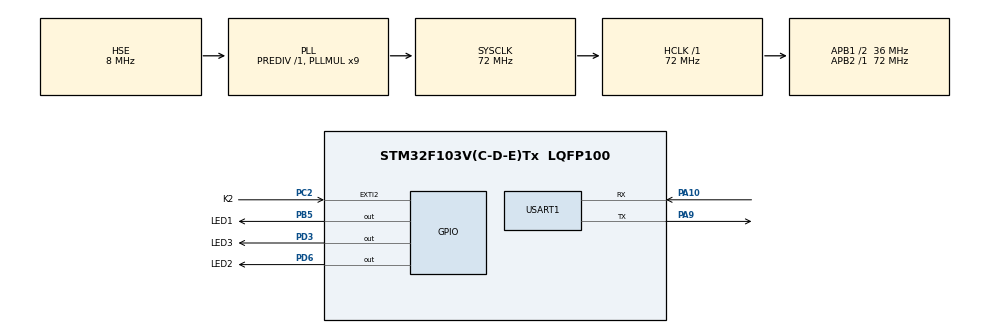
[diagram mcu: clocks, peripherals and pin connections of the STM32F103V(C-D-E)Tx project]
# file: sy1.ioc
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Mcu.Family=STM32F1
Mcu.Name=STM32F103V(C-D-E)Tx
Mcu.Package=LQFP100
NVIC.EXTI2_IRQn=true\:0\:0\:false\:false\:true\:true\:true\:true
NVIC.PriorityGroup=NVIC_PRIORITYGROUP_4
NVIC.USART1_IRQn=true\:0\:0\:false\:false\:true\:true\:true\:true
OSC_IN.Mode=HSE-External-Oscillator
OSC_IN.Signal=RCC_OSC_IN
OSC_OUT.Mode=HSE-External-Oscillator
OSC_OUT.Signal=RCC_OSC_OUT
PA10.Mode=Asynchronous
PA10.Signal=USART1_RX
PA13.Mode=Serial_Wire
PA13.Signal=SYS_JTMS-SWDIO
PA14.Mode=Serial_Wire
PA14.Signal=SYS_JTCK-SWCLK
PA9.Mode=Asynchronous
PA9.Signal=USART1_TX
PB5.GPIO_Label=LED1
PB5.GPIO_Speed=GPIO_SPEED_FREQ_HIGH
PB5.Signal=GPIO_Output
PC2.GPIO_Label=K2
PC2.GPIO_ModeDefaultEXTI=GPIO_MODE_IT_FALLING
PC2.Signal=GPXTI2
PD3.GPIO_Label=LED3
PD3.GPIO_Speed=GPIO_SPEED_FREQ_HIGH
PD3.Signal=GPIO_Output
PD6.GPIO_Label=LED2
PD6.GPIO_Speed=GPIO_SPEED_FREQ_HIGH
PD6.Signal=GPIO_Output
ProjectManager.HeapSize=0x200
ProjectManager.StackSize=0x400
ProjectManager.TargetToolchain=CMake
RCC.AHBFreq_Value=72000000
RCC.APB1CLKDivider=RCC_HCLK_DIV2
RCC.APB1Freq_Value=36000000
RCC.APB1TimFreq_Value=72000000
RCC.APB2Freq_Value=72000000
RCC.APB2TimFreq_Value=72000000
RCC.HCLKFreq_Value=72000000
RCC.PLLMUL=RCC_PLL_MUL9
RCC.PLLSourceVirtual=RCC_PLLSOURCE_HSE
RCC.SYSCLKFreq_VALUE=72000000
RCC.SYSCLKSource=RCC_SYSCLKSOURCE_PLLCLK
RCC.USBFreq_Value=72000000
USART1.VirtualMode=VM_ASYNC
board=custom

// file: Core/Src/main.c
/* USER CODE BEGIN Header */
/**
  ******************************************************************************
  * @file           : main.c
  * @brief          : Main program body
  ******************************************************************************
  * @attention
  *
  * Copyright (c) 2026 STMicroelectronics.
  * All rights reserved.
  *
  * This software is licensed under terms that can be found in the LICENSE file
  * in the root directory of this software component.
  * If no LICENSE file comes with this software, it is provided AS-IS.
  *
  ******************************************************************************
  */
/* USER CODE END Header */
#include "main.h"
#include "usart.h"
#include "gpio.h"

/* USER CODE BEGIN Includes */
#include <string.h>
#include <stdio.h>
#include <stdlib.h>
/* USER CODE END Includes */

/* USER CODE BEGIN PD */
/* LED状态表：每个元素包含三个LED的GPIO状态 */
typedef struct {
    GPIO_PinState led1;
    GPIO_PinState led2;
    GPIO_PinState led3;
} LED_State;

/* 流水灯状态序列：LED1 -> LED2 -> LED3 -> 全灭 -> 循环 */
const LED_State led_sequence[] = {
    {GPIO_PIN_SET,   GPIO_PIN_RESET, GPIO_PIN_RESET},  /* LED1亮 */
    {GPIO_PIN_RESET, GPIO_PIN_SET,   GPIO_PIN_RESET},  /* LED2亮 */
    {GPIO_PIN_RESET, GPIO_PIN_RESET, GPIO_PIN_SET},    /* LED3亮 */
};

#define LED_SEQUENCE_SIZE (sizeof(led_sequence) / sizeof(led_sequence[0]))

/* USER CODE END PD */

void SystemClock_Config(void);

/* USER CODE BEGIN 0 */
/* 流水灯控制变量 */
uint8_t current_step = 0;  /* 当前步骤索引 */
int8_t run = 0;            /* 运行状态 */
uint32_t delay_ms = 500;   /* 延时时间，单位毫秒 */

/* 串口接收相关 */
uint8_t rx_byte;           /* 单字节接收缓冲区 */
char rx_buf[8];            /* 数字缓冲区 */
uint8_t rx_index = 0;      /* 缓冲区索引 */
uint8_t rx_state = 0;      /* 接收状态：0=等待'S', 1=接收数字 */

/* USER CODE END 0 */

int main(void)
{

  /* MCU Configuration--------------------------------------------------------*/

  /* Reset of all peripherals, Initializes the Flash interface and the Systick. */
  HAL_Init();

  /* Configure the system clock */
  SystemClock_Config();

  /* Initialize all configured peripherals */
  MX_GPIO_Init();
  MX_USART1_UART_Init();
  /* USER CODE BEGIN 2 */
  HAL_UART_Receive_IT(&huart1, &rx_byte, 1);
  /* USER CODE END 2 */

  /* Infinite loop */
  while (1)
  {
    switch (run)
    {
      case 0:
        /* 仅 LED1 亮 */
        HAL_GPIO_WritePin(LED1_GPIO_Port, LED1_Pin, GPIO_PIN_SET);
        HAL_GPIO_WritePin(LED2_GPIO_Port, LED2_Pin, GPIO_PIN_RESET);
        HAL_GPIO_WritePin(LED3_GPIO_Port, LED3_Pin, GPIO_PIN_RESET);
        break;

      case 1:
        /* 仅 LED2 亮 */
        HAL_GPIO_WritePin(LED1_GPIO_Port, LED1_Pin, GPIO_PIN_RESET);
        HAL_GPIO_WritePin(LED2_GPIO_Port, LED2_Pin, GPIO_PIN_SET);
        HAL_GPIO_WritePin(LED3_GPIO_Port, LED3_Pin, GPIO_PIN_RESET);
        break;

      case 2:
        /* 仅 LED3 亮 */
        HAL_GPIO_WritePin(LED1_GPIO_Port, LED1_Pin, GPIO_PIN_RESET);
        HAL_GPIO_WritePin(LED2_GPIO_Port, LED2_Pin, GPIO_PIN_RESET);
        HAL_GPIO_WritePin(LED3_GPIO_Port, LED3_Pin, GPIO_PIN_SET);
        break;

      default:
        HAL_GPIO_WritePin(LED1_GPIO_Port, LED1_Pin, GPIO_PIN_RESET);
        HAL_GPIO_WritePin(LED2_GPIO_Port, LED2_Pin, GPIO_PIN_RESET);
        HAL_GPIO_WritePin(LED3_GPIO_Port, LED3_Pin, GPIO_PIN_RESET);
        break;
    }
  }
}

void SystemClock_Config(void)
{
  RCC_OscInitTypeDef RCC_OscInitStruct = {0};
  RCC_ClkInitTypeDef RCC_ClkInitStruct = {0};

  /** Initializes the RCC Oscillators according to the specified parameters
  * in the RCC_OscInitTypeDef structure.
  */
  RCC_OscInitStruct.OscillatorType = RCC_OSCILLATORTYPE_HSE;
  RCC_OscInitStruct.HSEState = RCC_HSE_ON;
  RCC_OscInitStruct.HSEPredivValue = RCC_HSE_PREDIV_DIV1;
  RCC_OscInitStruct.HSIState = RCC_HSI_ON;
  RCC_OscInitStruct.PLL.PLLState = RCC_PLL_ON;
  RCC_OscInitStruct.PLL.PLLSource = RCC_PLLSOURCE_HSE;
  RCC_OscInitStruct.PLL.PLLMUL = RCC_PLL_MUL9;
  if (HAL_RCC_OscConfig(&RCC_OscInitStruct) != HAL_OK)
  {
    Error_Handler();
  }

  /** Initializes the CPU, AHB and APB buses clocks
  */
  RCC_ClkInitStruct.ClockType = RCC_CLOCKTYPE_HCLK|RCC_CLOCKTYPE_SYSCLK
                              |RCC_CLOCKTYPE_PCLK1|RCC_CLOCKTYPE_PCLK2;
  RCC_ClkInitStruct.SYSCLKSource = RCC_SYSCLKSOURCE_PLLCLK;
  RCC_ClkInitStruct.AHBCLKDivider = RCC_SYSCLK_DIV1;
  RCC_ClkInitStruct.APB1CLKDivider = RCC_HCLK_DIV2;
  RCC_ClkInitStruct.APB2CLKDivider = RCC_HCLK_DIV1;

  if (HAL_RCC_ClockConfig(&RCC_ClkInitStruct, FLASH_LATENCY_2) != HAL_OK)
  {
    Error_Handler();
  }
}

/* USER CODE BEGIN 4 */
void HAL_UART_RxCpltCallback(UART_HandleTypeDef *huart)
{
  if (huart->Instance == USART1)
  {
    if (rx_state == 0)
    {
      /* 等待接收 'S' */
      if (rx_byte == 'S')
      {
        rx_state = 1;
        rx_index = 0;
        memset(rx_buf, 0, sizeof(rx_buf));
      }
    }
    else if (rx_state == 1)
    {
      /* 接收数字，直到收到回车或换行 */
      if (rx_byte == '\r' || rx_byte == '\n')
      {
        /* 解析数字 */
        uint32_t ms = atoi(rx_buf);
        if (ms >= 1 && ms <= 1000)
        {
          delay_ms = ms;
          /* 计算并回传频率 (Hz) */
          float freq = 1000.0f / delay_ms;
          char msg[50];
          sprintf(msg, "Freq: %.2f Hz\r\n", freq);
          HAL_UART_Transmit(&huart1, (uint8_t*)msg, strlen(msg), 100);
        }
        else
        {
          char msg[] = "Error: 1~1000 ms\r\n";
          HAL_UART_Transmit(&huart1, (uint8_t*)msg, strlen(msg), 100);
        }
        /* 重置状态 */
        rx_state = 0;
        rx_index = 0;
      }
      else if (rx_byte >= '0' && rx_byte <= '9')
      {
        /* 收到数字字符 */
        if (rx_index < 7)
        {
          rx_buf[rx_index++] = rx_byte;
        }
      }
      else
      {
        /* 无效字符，重置 */
        rx_state = 0;
        rx_index = 0;
      }
    }
    /* 继续接收下一字节 */
    HAL_UART_Receive_IT(&huart1, &rx_byte, 1);
  }
}
/* USER CODE END 4 */

void Error_Handler(void)
{
  __disable_irq();
  while (1)
  {
  }
}
